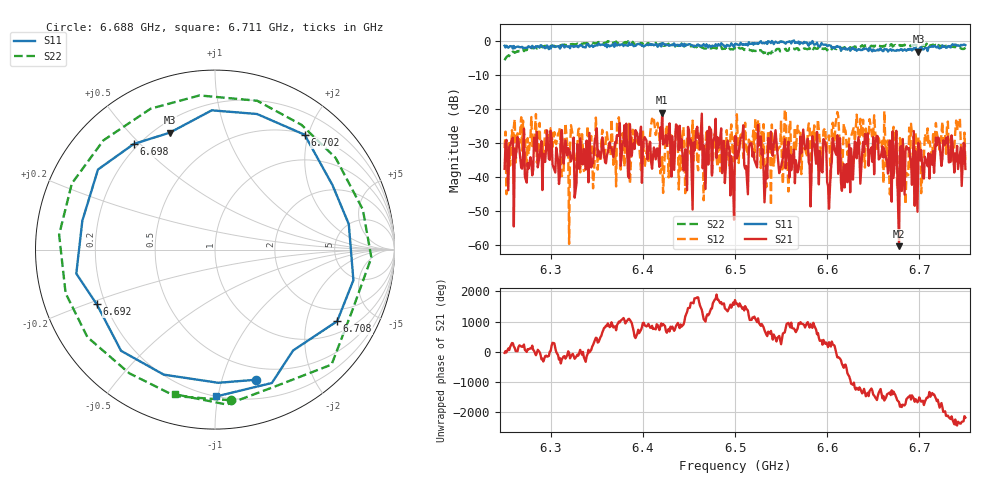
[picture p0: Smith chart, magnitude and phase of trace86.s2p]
# Hz S RI R 50
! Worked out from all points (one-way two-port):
!   401 points, 6.25 GHz to 6.75 GHz, reference 50 ohm
!   highest |S21| = -21.08 dB at 6.421 GHz (marker M1); lowest = -60.2 dB at 6.678 GHz (marker M2)
!   lowest |S11| = -3.1 dB at 6.699 GHz (marker M3), VSWR 5.63, Z = 12.9 + j32.7 ohm
!   |S11| at or under -10 dB: nowhere
!   |S22| runs from -5.7 to -0.1 dB; largest |S21 - S12| = 0.13
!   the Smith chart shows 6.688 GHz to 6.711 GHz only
!   S11 on the Smith chart (normalised r, x): 6.688 GHz: 0.38, -1.30; 6.692 GHz: 0.17, -0.21; 6.698 GHz: 0.18, +0.48; 6.702 GHz: 0.52, +1.94; 6.708 GHz: 1.45, -3.06; 6.711 GHz: 0.20, -0.99
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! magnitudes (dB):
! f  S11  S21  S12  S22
! 6.25 GHz  -1.4  -37.5  -31.4  -5.7
! 6.334 GHz  -1.4  -36.2  -27.3  -0.9
! 6.418 GHz  -1.0  -36.9  -28.8  -0.9
! 6.421 GHz  -0.6  -21.1  -34.0  -0.5
! 6.434 GHz  -0.7  -37.8  -32.5  -1.1
! 6.461 GHz  -1.4  -28.0  -29.1  -1.4
! 6.5 GHz  -0.9  -27.9  -33.7  -2.1
! 6.506 GHz  -0.5  -28.5  -27.6  -2.3
! 6.512 GHz  -0.8  -36.7  -30.3  -2.7
! 6.584 GHz  0.0  -27.9  -26.7  -2.2
! 6.649 GHz  -3.0  -35.5  -28.7  -1.6
! 6.668 GHz  -2.6  -29.2  -45.0  -1.4
! 6.678 GHz  -2.8  -60.2  -41.6  -1.3
! 6.688 GHz  -2.4  -31.8  -39.4  -1.5
! 6.692 GHz  -2.8  -42.2  -27.4  -1.2
! 6.698 GHz  -2.6  -50.1  -36.7  -1.3
! 6.699 GHz  -3.1  -29.9  -28.3  -1.3
! 6.702 GHz  -1.8  -32.0  -44.7  -1.5
! 6.708 GHz  -2.1  -35.6  -29.2  -0.8
! 6.711 GHz  -1.7  -40.4  -29.4  -1.6
! 6.741 GHz  -1.3  -30.8  -26.1  -2.1
! 6.75 GHz  -1.2  -37.6  -35.6  -1.9
